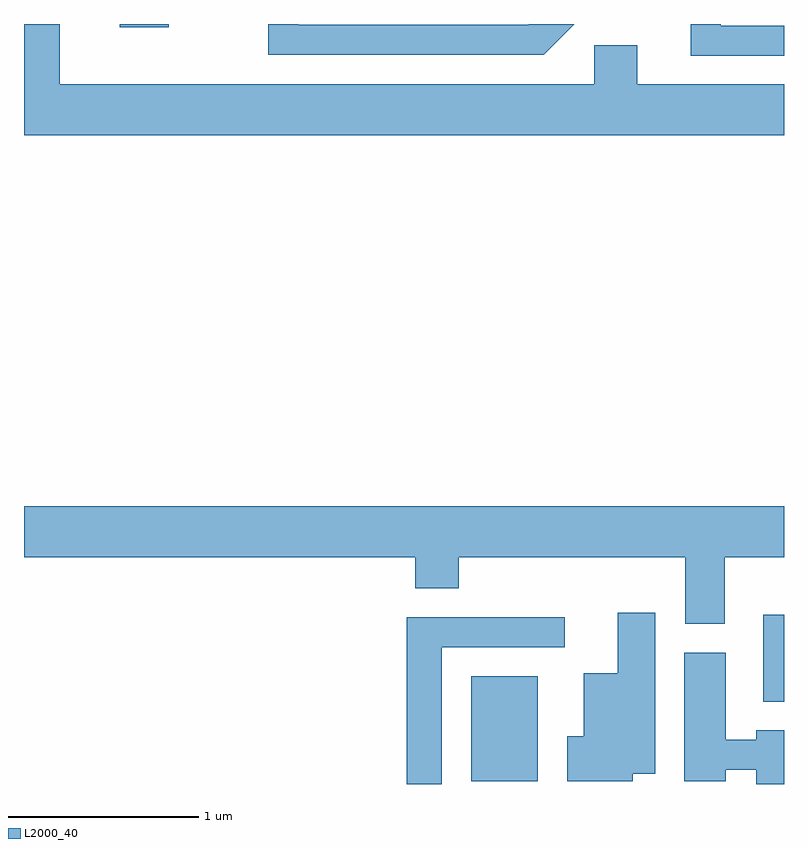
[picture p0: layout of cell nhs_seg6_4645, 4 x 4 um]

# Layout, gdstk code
import gdstk
lib = gdstk.Library(unit=1e-6, precision=1e-09)
def R(c, l, rs):  # rectangles x0, y0, x1, y1
    for r in rs: c.add(gdstk.rectangle(r[:2], r[2:], *l))
def P(c, l, *ps):  # polygons
    for p in ps: c.add(gdstk.Polygon(p, *l))
L2000_40 = (2000, 40)

nhs_seg6_4645 = lib.new_cell('nhs_seg6_4645')
R(nhs_seg6_4645, L2000_40, [(329.966,1562.176,330.314,1562.729), (331.501,1562.596,331.611,1563.054), (328.116,1566.146,328.374,1566.162)])
P(nhs_seg6_4645, L2000_40, [(331.611,1565.844),(330.839,1565.844),(330.839,1566.049),(330.611,1566.049),(330.611,1565.844),(327.799,1565.844),(327.799,1566.162),(327.611,1566.162),(327.611,1565.576),(331.611,1565.576)],
  [(330.508,1566.162),(330.267,1566.162),(330.264,1566.159),(329.054,1566.159),(329.054,1566.162),(328.896,1566.162),(328.896,1566.001),(330.347,1566.001)],
  [(331.611,1566.154),(331.279,1566.154),(331.279,1566.162),(331.121,1566.162),(331.121,1565.996),(331.611,1565.996)],
  [(331.299,1563.356),(331.611,1563.356),(331.611,1563.624),(327.611,1563.624),(327.611,1563.356),(329.671,1563.356),(329.671,1563.191),(329.899,1563.191),(329.899,1563.356),(331.091,1563.356),(331.091,1563.006),(331.299,1563.006)],
  [(330.814,1562.216),(330.934,1562.216),(330.934,1563.064),(330.736,1563.064),(330.736,1562.744),(330.556,1562.744),(330.556,1562.414),(330.471,1562.414),(330.471,1562.176),(330.814,1562.176)],
  [(329.809,1562.881),(330.458,1562.881),(330.458,1563.039),(329.626,1563.039),(329.626,1562.162),(329.809,1562.162)],
  [(331.611,1562.444),(331.466,1562.444),(331.466,1562.394),(331.304,1562.394),(331.304,1562.854),(331.086,1562.854),(331.086,1562.176),(331.304,1562.176),(331.304,1562.236),(331.466,1562.236),(331.466,1562.162),(331.611,1562.162)])

lib.write_gds('nhs_seg6_4645.gds')
